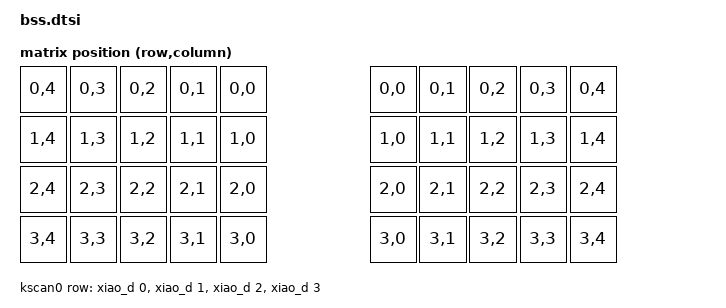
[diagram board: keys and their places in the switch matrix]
#include <dt-bindings/zmk/matrix_transform.h>

/ {
    chosen {
        zmk,kscan = &kscan0;
        zmk,matrix_transform = &default_transform;
    };

    default_transform: keymap_transform_0 {
        compatible = "zmk,matrix-transform";
        columns = <10>;
        rows = <4>;
        // | C4R0 | C3R0 | C2R0 | C1R0 | C0R0 |               -               | C0R0 | C1R0 | C2R0 | C3R0 | C4R0 |
        // | C4R1 | C3R1 | C2R1 | C1R1 | C0R1 |      O        -        O      | C0R1 | C1R1 | C2R1 | C3R1 | C4R1 |
        // | C4R2 | C3R2 | C2R2 | C1R2 | C0R2 |               -               | C0R2 | C1R2 | C2R2 | C3R2 | C4R2 |
        //               | C4R3 | C3R3 | C2R3 | C1R3 | C0R3 | - | C0R3 | C1R3 | C2R3 | C3R3 | C4R3 |
        map = <
                RC(0,4) RC(0,3) RC(0,2) RC(0,1) RC(0,0)                                    RC(0,0) RC(0,1) RC(0,2) RC(0,3) RC(0,4)
                RC(1,4) RC(1,3) RC(1,2) RC(1,1) RC(1,0)                                    RC(1,0) RC(1,1) RC(1,2) RC(1,3) RC(1,4)
                RC(2,4) RC(2,3) RC(2,2) RC(2,1) RC(2,0)                                    RC(2,0) RC(2,1) RC(2,2) RC(2,3) RC(2,4)
                                RC(3,4) RC(3,3) RC(3,2) RC(3,1) RC(3,0)    RC(3,0) RC(3,1) RC(3,2) RC(3,3) RC(3,4)
        >;
    };


    kscan0: kscan_0 {
        compatible = "zmk,kscan-gpio-matrix";
        label = "KSCAN";
        
        diode-direction = "col2row"; 
        row-gpios
            = <&xiao_d 0 (GPIO_ACTIVE_HIGH | GPIO_PULL_DOWN)>
            , <&xiao_d 1 (GPIO_ACTIVE_HIGH | GPIO_PULL_DOWN)>
            , <&xiao_d 2 (GPIO_ACTIVE_HIGH | GPIO_PULL_DOWN)>
            , <&xiao_d 3 (GPIO_ACTIVE_HIGH | GPIO_PULL_DOWN)>
            ;
    };
};
